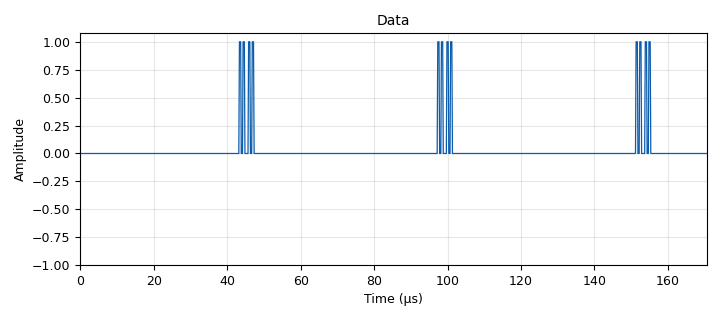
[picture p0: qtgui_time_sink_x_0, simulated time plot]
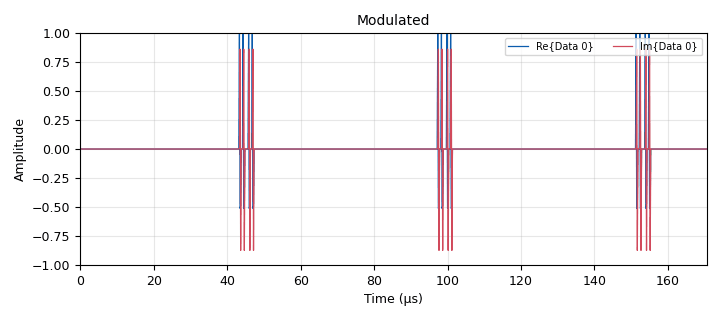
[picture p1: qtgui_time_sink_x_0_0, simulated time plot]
options:
  parameters:
    generate_options: qt_gui
    id: ppm_gen
    output_language: python
    title: Not titled yet
  states: {}

blocks:
- name: samp_rate
  id: variable
  parameters:
    value: '6000000'
  states: {}
- name: t_bit
  id: variable
  parameters:
    value: '1e-6'
  states: {}
- name: analog_const_source_x_0
  id: analog_const_source_x
  parameters:
    const: '0'
    type: float
  states: {}
- name: analog_sig_source_x_0
  id: analog_sig_source_x
  parameters:
    amp: '1'
    freq: '2000000'
    offset: '0'
    phase: '0'
    samp_rate: samp_rate
    type: complex
    waveform: analog.GR_COS_WAVE
  states: {}
- name: blocks_char_to_float_0
  id: blocks_char_to_float
  parameters:
    scale: '1'
  states: {}
- name: blocks_float_to_complex_0
  id: blocks_float_to_complex
  parameters: {}
  states: {}
- name: blocks_multiply_xx_0
  id: blocks_multiply_xx
  parameters:
    type: complex
  states: {}
- name: blocks_repeat_0
  id: blocks_repeat
  parameters:
    interp: int(samp_rate*t_bit/2)
    type: float
  states: {}
- name: blocks_unpack_k_bits_bb_0
  id: blocks_unpack_k_bits_bb
  parameters:
    k: '2'
  states: {}
- name: blocks_vector_source_x_0
  id: blocks_vector_source_x
  parameters:
    repeat: 'True'
    type: byte
    vector: (2,2,2,2,2)*10 + (1,1,0,0)
  states: {}
- name: digital_map_bb_0
  id: digital_map_bb
  parameters:
    map: '[1,2,0]'
  states: {}
- name: note_0
  id: note
  parameters:
    note: Realistically, just send data into radio... no need to premodulate
  states: {}
- name: qtgui_time_sink_x_0
  id: qtgui_time_sink_x
  parameters:
    ctrlpanel: 'True'
    name: '"Data"'
    size: '1024'
    srate: samp_rate
    type: float
  states: {}
- name: qtgui_time_sink_x_0_0
  id: qtgui_time_sink_x
  parameters:
    ctrlpanel: 'True'
    name: '"Modulated"'
    size: '1024'
    srate: samp_rate
    type: complex
  states: {}

connections:
- [analog_const_source_x_0, '0', blocks_float_to_complex_0, '1']
- [analog_sig_source_x_0, '0', blocks_multiply_xx_0, '1']
- [blocks_char_to_float_0, '0', blocks_repeat_0, '0']
- [blocks_float_to_complex_0, '0', blocks_multiply_xx_0, '0']
- [blocks_multiply_xx_0, '0', qtgui_time_sink_x_0_0, '0']
- [blocks_repeat_0, '0', blocks_float_to_complex_0, '0']
- [blocks_repeat_0, '0', qtgui_time_sink_x_0, '0']
- [blocks_unpack_k_bits_bb_0, '0', blocks_char_to_float_0, '0']
- [blocks_vector_source_x_0, '0', digital_map_bb_0, '0']
- [digital_map_bb_0, '0', blocks_unpack_k_bits_bb_0, '0']

metadata:
  file_format: 1
  grc_version: 3.10.10.0
